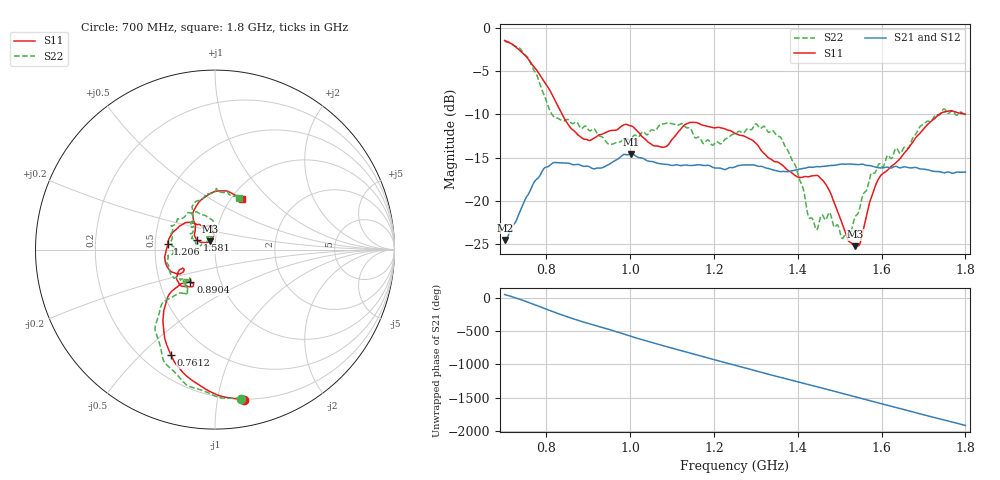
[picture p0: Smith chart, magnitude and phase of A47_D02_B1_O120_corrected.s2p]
! Created with skrf 1.9.0 (http://scikit-rf.org).
# Hz S RI R 50.0
!freq ReS11 ImS11 ReS21 ImS21 ReS12 ImS12 ReS22 ImS22
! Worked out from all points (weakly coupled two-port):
!   1601 points, 700 MHz to 1.8 GHz, reference 50 ohm
!   highest |S21| = -14.57 dB at 1.002 GHz (marker M1); lowest = -24.6 dB at 700.7 MHz (marker M2)
!   lowest |S11| = -25.3 dB at 1.537 GHz (marker M3), VSWR 1.12, Z = 47.1 + j4.43 ohm
!   |S11| at or under -10 dB: 837.7 MHz to 1.736 GHz (898.7 MHz wide, 69.8 % of centre)
!   |S22| runs from -24.4 to -1.5 dB; largest |S21 - S12| = 0.0034
!   S11 on the Smith chart (normalised r, x): 700 MHz: 0.20, -1.19; 761.2 MHz: 0.31, -0.62; 890.4 MHz: 0.72, -0.27; 1.206 GHz: 0.58, +0.04; 1.581 GHz: 0.81, +0.09; 1.8 GHz: 1.12, +0.70
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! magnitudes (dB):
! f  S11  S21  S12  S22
! 700 MHz  -1.4  -24.6  -24.4  -1.5
! 700.7 MHz  -1.4  -24.6  -24.3  -1.5
! 761.2 MHz  -3.9  -18.8  -18.7  -3.9
! 814.8 MHz  -7.8  -15.6  -15.7  -10.1
! 883.6 MHz  -12.7  -15.9  -15.8  -11.6
! 890.4 MHz  -12.9  -16.0  -16.0  -11.4
! 950.9 MHz  -11.9  -15.7  -15.7  -13.5
! 1.002 GHz  -11.3  -14.6  -14.7  -12.8
! 1.067 GHz  -13.7  -15.7  -15.6  -11.4
! 1.139 GHz  -11.0  -15.9  -15.9  -11.5
! 1.206 GHz  -11.5  -16.2  -16.3  -13.2
! 1.25 GHz  -12.2  -16.1  -16.0  -12.2
! 1.359 GHz  -15.7  -16.6  -16.6  -12.6
! 1.434 GHz  -17.1  -16.1  -16.1  -22.0
! 1.476 GHz  -18.9  -15.9  -15.9  -21.4
! 1.508 GHz  -22.9  -15.8  -15.7  -24.3
! 1.537 GHz  -25.3  -15.8  -15.8  -21.9
! 1.55 GHz  -24.8  -15.8  -15.8  -20.4
! 1.581 GHz  -18.8  -16.1  -16.0  -16.8
! 1.617 GHz  -16.3  -16.2  -16.1  -14.8
! 1.737 GHz  -10.0  -16.6  -16.7  -10.1
! 1.8 GHz  -10.0  -16.7  -16.7  -10.0
